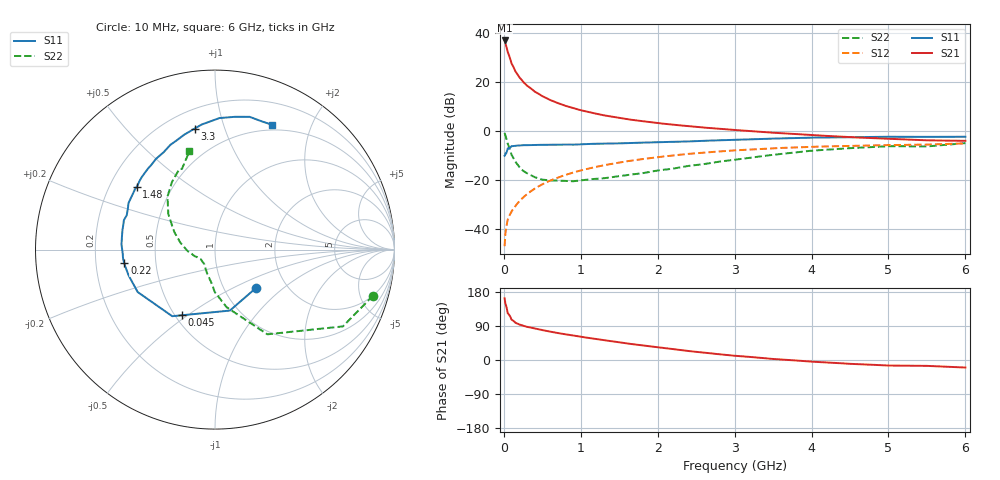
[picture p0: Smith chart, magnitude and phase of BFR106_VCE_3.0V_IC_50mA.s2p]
! Infineon Technologies  Discrete & RF Semiconductors
! BFR106
! VCE =  3.0 V,  IC =  50 mA
! Common Emitter S-Parameters:  Nov 2015
# GHz  S  MA  R  50
!  f  S11  S21  S12  S22
! GHz  MAG  ANG  MAG  ANG  MAG  ANG  MAG  ANG
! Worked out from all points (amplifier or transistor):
!   210 points, 10 MHz to 6 GHz, reference 50 ohm
!   highest |S21| = 36.9 dB at 10 MHz (marker M1)
!   |S21| within 3 dB of that: start of sweep to 36.51 MHz
!   unconditionally stable (mu >= 1): 239.4 MHz to 2.474 GHz; 5.477 GHz to 5.791 GHz
!   at 185 MHz: K = 0.94, MSG = 26.0 dB, |S12| = -29.2 dB
!   at 1.52 GHz: K = 1.05, MAG = 7.6 dB, |S12| = -12.7 dB
!   at 6 GHz: K = 1.00, MSG = 0.5 dB, |S12| = -5.0 dB
!   S11 on the Smith chart (normalised r, x): 10 MHz: 1.41, -0.67; 45 MHz: 0.54, -0.48; 220 MHz: 0.33, -0.07; 1.48 GHz: 0.31, +0.32; 3.3 GHz: 0.31, +0.80; 6 GHz: 0.44, +1.46
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0.01  0.313 -42.8  70.11 162.8  0.0045 81.6  0.9166 -16.3
0.02  0.3497 -76.3  62.82 149.0  0.0081 72.3  0.8311 -31.0
0.045  0.4099 -116.8  43.93 129.5  0.0142 61.1  0.5889 -52.1
0.05  0.441 -122.7  41.09 123.6  0.0155 59.9  0.5549 -58.3
0.1  0.4913 -151.2  23.9 106.5  0.0229 62.0  0.328 -78.5
0.15  0.5023 -163.3  16.47 98.4  0.0296 64.4  0.2371 -90.2
0.2  0.5089 -169.5  12.56 93.8  0.0368 67.1  0.1856 -96.3
0.22  0.5109 -171.4  11.56 92.5  0.0397 67.9  0.1727 -98.9
0.26  0.5147 -174.9  9.748 89.6  0.0456 69.1  0.151 -104.6
0.3  0.5146 -177.5  8.443 87.5  0.0515 69.9  0.1385 -108.8
0.4  0.5217 176.9  6.392 83.0  0.0667 71.4  0.115 -118.0
0.5  0.5232 172.8  5.134 78.8  0.0818 71.5  0.1022 -124.9
0.6  0.5267 168.3  4.306 74.9  0.0972 70.8  0.0986 -129.5
0.7  0.5289 164.8  3.721 71.1  0.1121 69.8  0.0976 -135.1
1.02  0.5393 153.9  2.611 60.8  0.1599 66.0  0.0994 -147.8
1.48  0.559 141.3  1.881 47.3  0.2251 59.3  0.1194 -162.4
2.02  0.59 127.1  1.442 32.9  0.2959 50.7  0.1582 -179.3
3.1  0.6691 103.1  1.024 9.7  0.4111 33.4  0.272 151.2
3.3  0.6836 99.5  0.972 6.4  0.428 30.3  0.2989 146.5
4.1  0.7354 86.7  0.811 -5.4  0.4815 18.5  0.4062 129.7
5.1  0.763 74.3  0.684 -14.8  0.5194 6.2  0.4893 113.6
6  0.7647 65.6  0.631 -19.9  0.5598 -3.2  0.5662 104.6
